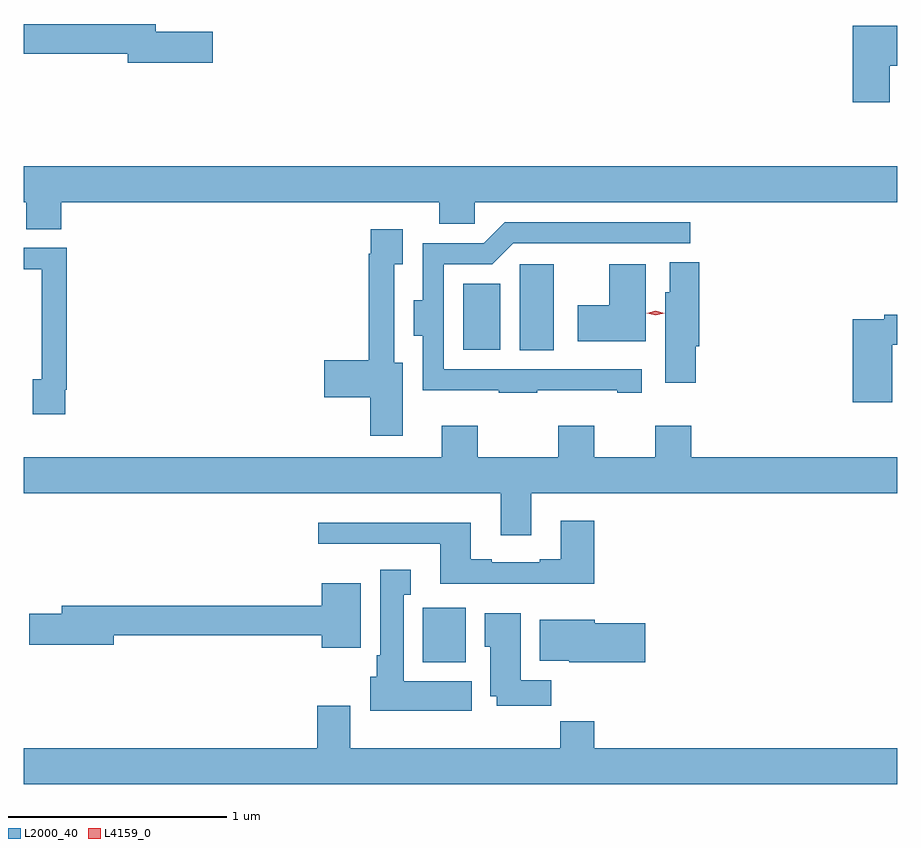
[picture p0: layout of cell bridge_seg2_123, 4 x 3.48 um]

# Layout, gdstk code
import gdstk
lib = gdstk.Library(unit=1e-6, precision=1e-09)
def R(c, l, rs):  # rectangles x0, y0, x1, y1
    for r in rs: c.add(gdstk.rectangle(r[:2], r[2:], *l))
def P(c, l, *ps):  # polygons
    for p in ps: c.add(gdstk.Polygon(p, *l))
L2000_40 = (2000, 40)
L4159_0 = (4159, 0)

bridge_seg2_123 = lib.new_cell('bridge_seg2_123')
R(bridge_seg2_123, L2000_40, [(491.481,622.886,491.677,623.136), (491.924,624.313,492.079,624.708), (491.666,624.317,491.836,624.619)])
P(bridge_seg2_123, L2000_40, [(490.519,625.772),(490.258,625.772),(490.258,625.808),(489.653,625.808),(489.653,625.672),(490.13,625.672),(490.13,625.63),(490.519,625.63)],
  [(493.618,625.616),(493.653,625.616),(493.653,625.801),(493.448,625.801),(493.448,625.449),(493.618,625.449)],
  [(489.824,624.992),(491.555,624.992),(491.555,624.894),(491.718,624.894),(491.718,624.992),(493.653,624.992),(493.653,625.156),(489.653,625.156),(489.653,624.992),(489.664,624.992),(489.664,624.868),(489.824,624.868)],
  [(492.005,624.131),(492.371,624.131),(492.371,624.12),(492.484,624.12),(492.484,624.228),(491.577,624.228),(491.577,624.708),(491.799,624.708),(491.895,624.804),(492.706,624.804),(492.706,624.9),(491.856,624.9),(491.76,624.804),(491.48,624.804),(491.48,624.544),(491.438,624.544),(491.438,624.38),(491.481,624.38),(491.481,624.131),(491.827,624.131),(491.827,624.12),(492.005,624.12)],
  [(491.389,624.256),(491.349,624.256),(491.349,624.707),(491.389,624.707),(491.389,624.868),(491.241,624.868),(491.241,624.755),(491.233,624.755),(491.233,624.269),(491.028,624.269),(491.028,624.098),(491.24,624.098),(491.24,623.922),(491.389,623.922)],
  [(489.844,624.133),(489.851,624.133),(489.851,624.783),(489.653,624.783),(489.653,624.686),(489.735,624.686),(489.735,624.182),(489.695,624.182),(489.695,624.021),(489.844,624.021)],
  [(492.731,624.333),(492.746,624.333),(492.746,624.718),(492.611,624.718),(492.611,624.579),(492.59,624.579),(492.59,624.165),(492.731,624.165)],
  [(492.502,624.709),(492.335,624.709),(492.335,624.52),(492.189,624.52),(492.189,624.356),(492.502,624.356)],
  [(493.631,624.34),(493.653,624.34),(493.653,624.476),(493.594,624.476),(493.594,624.456),(493.448,624.456),(493.448,624.075),(493.631,624.075)],
  [(491.977,623.66),(493.653,623.66),(493.653,623.824),(492.709,623.824),(492.709,623.968),(492.545,623.968),(492.545,623.824),(492.265,623.824),(492.265,623.968),(492.101,623.968),(492.101,623.824),(491.731,623.824),(491.731,623.968),(491.567,623.968),(491.567,623.824),(489.653,623.824),(489.653,623.66),(491.837,623.66),(491.837,623.466),(491.977,623.466)],
  [(492.266,623.533),(492.113,623.533),(492.113,623.356),(492.017,623.356),(492.017,623.343),(491.797,623.343),(491.797,623.356),(491.701,623.356),(491.701,623.524),(491.001,623.524),(491.001,623.427),(491.561,623.427),(491.561,623.246),(492.266,623.246)],
  [(491.704,622.798),(491.392,622.798),(491.392,623.195),(491.425,623.195),(491.425,623.308),(491.285,623.308),(491.285,622.918),(491.27,622.918),(491.27,622.818),(491.24,622.818),(491.24,622.664),(491.704,622.664)],
  [(491.197,623.248),(491.018,623.248),(491.018,623.144),(489.827,623.144),(489.827,623.108),(489.678,623.108),(489.678,622.966),(490.066,622.966),(490.066,623.008),(491.018,623.008),(491.018,622.952),(491.197,622.952)],
  [(492.068,622.804),(491.929,622.804),(491.929,623.11),(491.765,623.11),(491.765,622.956),(491.789,622.956),(491.789,622.73),(491.819,622.73),(491.819,622.686),(492.068,622.686)],
  [(492.499,623.063),(492.268,623.063),(492.268,623.08),(492.017,623.08),(492.017,622.892),(492.15,622.892),(492.15,622.886),(492.499,622.886)],
  [(493.653,622.492),(492.266,622.492),(492.266,622.616),(492.109,622.616),(492.109,622.492),(491.149,622.492),(491.149,622.687),(490.997,622.687),(490.997,622.492),(489.653,622.492),(489.653,622.328),(493.653,622.328)])
P(bridge_seg2_123, L4159_0, [(492.546,624.474),(492.506,624.484),(492.506,624.484),(492.506,624.484),(492.546,624.494),(492.585,624.484),(492.586,624.484),(492.585,624.484)])

lib.write_gds('bridge_seg2_123.gds')
